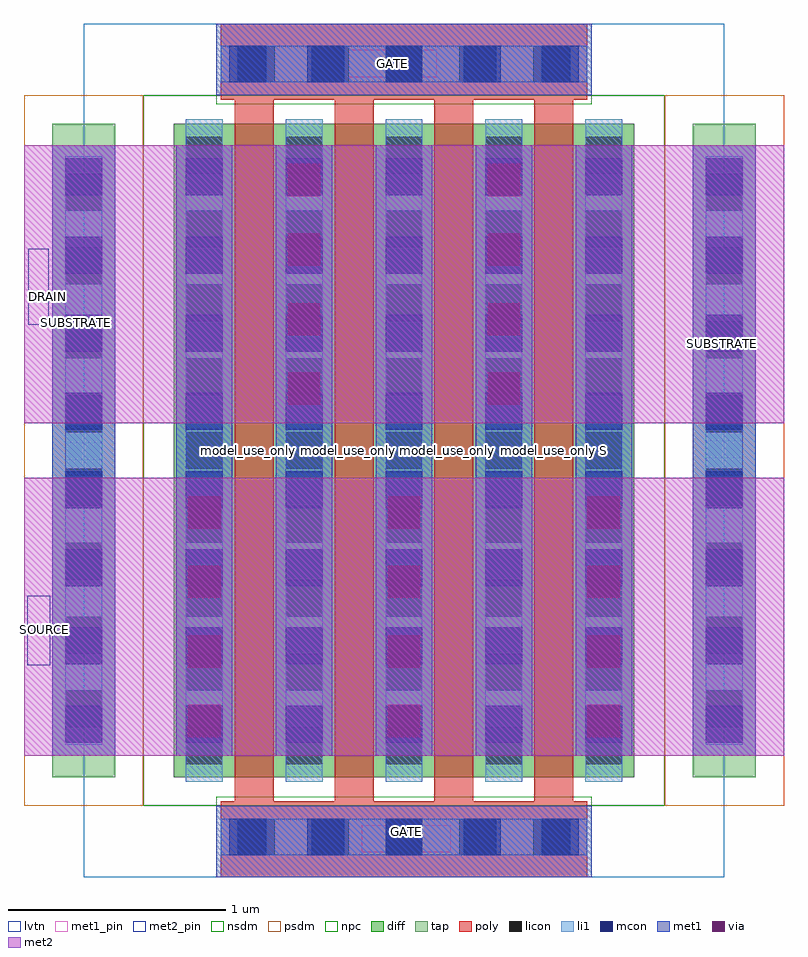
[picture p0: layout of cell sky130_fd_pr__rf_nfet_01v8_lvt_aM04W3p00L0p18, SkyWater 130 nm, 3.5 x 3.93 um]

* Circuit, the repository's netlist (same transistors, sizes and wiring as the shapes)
* Copyright 2020 The SkyWater PDK Authors
*
* Licensed under the Apache License, Version 2.0 (the "License");
* you may not use this file except in compliance with the License.
* You may obtain a copy of the License at
*
*     https://www.apache.org/licenses/LICENSE-2.0
*
* Unless required by applicable law or agreed to in writing, software
* distributed under the License is distributed on an "AS IS" BASIS,
* WITHOUT WARRANTIES OR CONDITIONS OF ANY KIND, either express or implied.
* See the License for the specific language governing permissions and
* limitations under the License.
*
* SPDX-License-Identifier: Apache-2.0


.subckt sky130_fd_pr__rf_nfet_01v8_lvt_aM04W3p00L0p18 DRAIN GATE SOURCE SUBSTRATE
X0 SOURCE GATE DRAIN SUBSTRATE sky130_fd_pr__nfet_01v8_lvt w=3.01e+06u l=180000u
X1 SOURCE GATE DRAIN SUBSTRATE sky130_fd_pr__nfet_01v8_lvt w=3.01e+06u l=180000u
X2 DRAIN GATE SOURCE SUBSTRATE sky130_fd_pr__nfet_01v8_lvt w=3.01e+06u l=180000u
X3 DRAIN GATE SOURCE SUBSTRATE sky130_fd_pr__nfet_01v8_lvt w=3.01e+06u l=180000u
.ends

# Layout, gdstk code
import gdstk
lib = gdstk.Library(unit=1e-6, precision=1e-09)
def R(c, l, rs):  # rectangles x0, y0, x1, y1
    for r in rs: c.add(gdstk.rectangle(r[:2], r[2:], *l))
def A(c, l, x, y, w, h, nx, ny, dx, dy):  # array of equal rectangles
    R(c, l, [(x+i*dx, y+j*dy, x+i*dx+w, y+j*dy+h) for i in range(nx) for j in range(ny)])
diff = (65, 20)
tap = (65, 44)
poly = (66, 20)
licon = (66, 44)
li1 = (67, 20)
mcon = (67, 44)
met1_pin = (68, 16)
met1 = (68, 20)
via = (68, 44)
met2_pin = (69, 16)
met2 = (69, 20)
nsdm = (93, 44)
psdm = (94, 20)
npc = (95, 20)
lvtn = (125, 44)

sky130_fd_pr__rf_nfet_01 = lib.new_cell('sky130_fd_pr__rf_nfet_01v8_lvt_aM04W3p00L0p18')
R(sky130_fd_pr__rf_nfet_01, diff, [(0.69,0.46,2.81,3.47)])
R(sky130_fd_pr__rf_nfet_01, tap, [(0.13,0.46,0.42,3.47), (3.08,0.46,3.37,3.47)])
A(sky130_fd_pr__rf_nfet_01, poly, 0.97, 0.35, 0.18, 3.23, 4, 1, 0.46, 0)
R(sky130_fd_pr__rf_nfet_01, poly, [(0.905,0,2.595,0.35), (0.905,3.58,2.595,3.93)])
A(sky130_fd_pr__rf_nfet_01, licon, 0.985, 0.1, 0.17, 0.17, 5, 2, 0.34, 3.56)
A(sky130_fd_pr__rf_nfet_01, licon, 0.745, 0.52, 0.17, 0.17, 5, 9, 0.46, 0.34)
A(sky130_fd_pr__rf_nfet_01, licon, 0.19, 0.69, 0.17, 0.17, 1, 8, 0, 0.34)
A(sky130_fd_pr__rf_nfet_01, licon, 3.14, 0.69, 0.17, 0.17, 1, 8, 0, 0.34)
A(sky130_fd_pr__rf_nfet_01, li1, 0.745, 0.44, 0.17, 3.05, 5, 1, 0.46, 0)
A(sky130_fd_pr__rf_nfet_01, li1, 0.745, 0.62, 0.17, 2.69, 5, 1, 0.46, 0)
R(sky130_fd_pr__rf_nfet_01, li1, [(0.905,0.1,2.595,0.27), (0.945,0.1,2.555,0.27), (0.19,0.61,0.36,3.32), (3.14,0.61,3.31,3.32), (0.19,0.62,0.36,3.31), (3.14,0.62,3.31,3.31), (0.905,3.66,2.595,3.83), (0.945,3.66,2.555,3.83)])
A(sky130_fd_pr__rf_nfet_01, mcon, 0.945, 0.1, 0.17, 0.17, 5, 2, 0.36, 3.56)
A(sky130_fd_pr__rf_nfet_01, mcon, 0.19, 0.62, 0.17, 0.17, 1, 8, 0, 0.36)
A(sky130_fd_pr__rf_nfet_01, mcon, 0.745, 0.62, 0.17, 0.17, 5, 8, 0.46, 0.36)
A(sky130_fd_pr__rf_nfet_01, mcon, 3.14, 0.62, 0.17, 0.17, 1, 8, 0, 0.36)
R(sky130_fd_pr__rf_nfet_01, met1_pin, [(1.555,0.115,1.965,0.24), (0.19,1.92,0.36,2), (3.14,1.93,3.31,2.01), (1.49,3.685,1.9,3.81)])
A(sky130_fd_pr__rf_nfet_01, met1, 0.7, 0.56, 0.26, 2.81, 5, 1, 0.46, 0)
A(sky130_fd_pr__rf_nfet_01, met1, 0.7, 0.56, 0.26, 1.28, 3, 1, 0.92, 0)
R(sky130_fd_pr__rf_nfet_01, met1, [(0.885,0,2.615,0.33), (0.13,0.56,0.42,3.37), (3.08,0.56,3.37,3.37), (1.16,2.09,1.42,3.37), (2.08,2.09,2.34,3.37), (0.885,3.6,2.615,3.93)])
A(sky130_fd_pr__rf_nfet_01, via, 0.755, 0.645, 0.15, 0.15, 3, 4, 0.92, 0.32)
A(sky130_fd_pr__rf_nfet_01, via, 1.215, 2.175, 0.15, 0.15, 1, 4, 0, 0.32)
A(sky130_fd_pr__rf_nfet_01, via, 2.135, 2.175, 0.15, 0.15, 1, 4, 0, 0.32)
R(sky130_fd_pr__rf_nfet_01, met2_pin, [(0.015,0.975,0.12,1.295), (0.02,2.545,0.115,2.895)])
A(sky130_fd_pr__rf_nfet_01, met2, 0.7, 0.56, 0.26, 1.28, 3, 1, 0.92, 0)
R(sky130_fd_pr__rf_nfet_01, met2, [(0,0.56,3.5,1.84), (0,2.09,3.5,3.37), (1.16,2.09,1.42,3.37), (2.08,2.09,2.34,3.37)])
R(sky130_fd_pr__rf_nfet_01, nsdm, [(0.55,0.33,2.95,3.6)])
R(sky130_fd_pr__rf_nfet_01, psdm, [(0,0.33,0.55,3.6), (2.95,0.33,3.5,3.6)])
R(sky130_fd_pr__rf_nfet_01, npc, [(0.885,0,2.615,0.37), (0.885,3.56,2.615,3.93)])
R(sky130_fd_pr__rf_nfet_01, lvtn, [(0.275,0,3.225,3.93)])
sky130_fd_pr__rf_nfet_01.add(gdstk.Label('model_use_only', (1.035,1.965), layer=66, texttype=83))
sky130_fd_pr__rf_nfet_01.add(gdstk.Label('model_use_only', (1.495,1.965), layer=66, texttype=83))
sky130_fd_pr__rf_nfet_01.add(gdstk.Label('model_use_only', (1.95,1.965), layer=66, texttype=83))
sky130_fd_pr__rf_nfet_01.add(gdstk.Label('model_use_only', (2.415,1.965), layer=66, texttype=83))
sky130_fd_pr__rf_nfet_01.add(gdstk.Label('S', (0.83,1.965), layer=83, texttype=44))
sky130_fd_pr__rf_nfet_01.add(gdstk.Label('S', (1.75,1.965), layer=83, texttype=44))
sky130_fd_pr__rf_nfet_01.add(gdstk.Label('D', (1.29,1.965), layer=83, texttype=44))
sky130_fd_pr__rf_nfet_01.add(gdstk.Label('S', (2.67,1.965), layer=83, texttype=44))
sky130_fd_pr__rf_nfet_01.add(gdstk.Label('S', (0.83,1.965), layer=83, texttype=44))
sky130_fd_pr__rf_nfet_01.add(gdstk.Label('S', (2.21,1.965), layer=83, texttype=44))
sky130_fd_pr__rf_nfet_01.add(gdstk.Label('S', (1.75,1.965), layer=83, texttype=44))
sky130_fd_pr__rf_nfet_01.add(gdstk.Label('S', (1.29,1.965), layer=83, texttype=44))
sky130_fd_pr__rf_nfet_01.add(gdstk.Label('D', (2.21,1.965), layer=83, texttype=44))
sky130_fd_pr__rf_nfet_01.add(gdstk.Label('DRAIN', (0.11,2.675), layer=69, texttype=5))
sky130_fd_pr__rf_nfet_01.add(gdstk.Label('SOURCE', (0.095,1.14), layer=69, texttype=5))
sky130_fd_pr__rf_nfet_01.add(gdstk.Label('SUBSTRATE', (0.24,2.555), layer=68, texttype=5))
sky130_fd_pr__rf_nfet_01.add(gdstk.Label('SUBSTRATE', (3.215,2.46), layer=68, texttype=5))
sky130_fd_pr__rf_nfet_01.add(gdstk.Label('GATE', (1.76,0.21), layer=68, texttype=5))
sky130_fd_pr__rf_nfet_01.add(gdstk.Label('GATE', (1.695,3.745), layer=68, texttype=5))

lib.write_gds('sky130_fd_pr__rf_nfet_01v8_lvt_aM04W3p00L0p18.gds')
